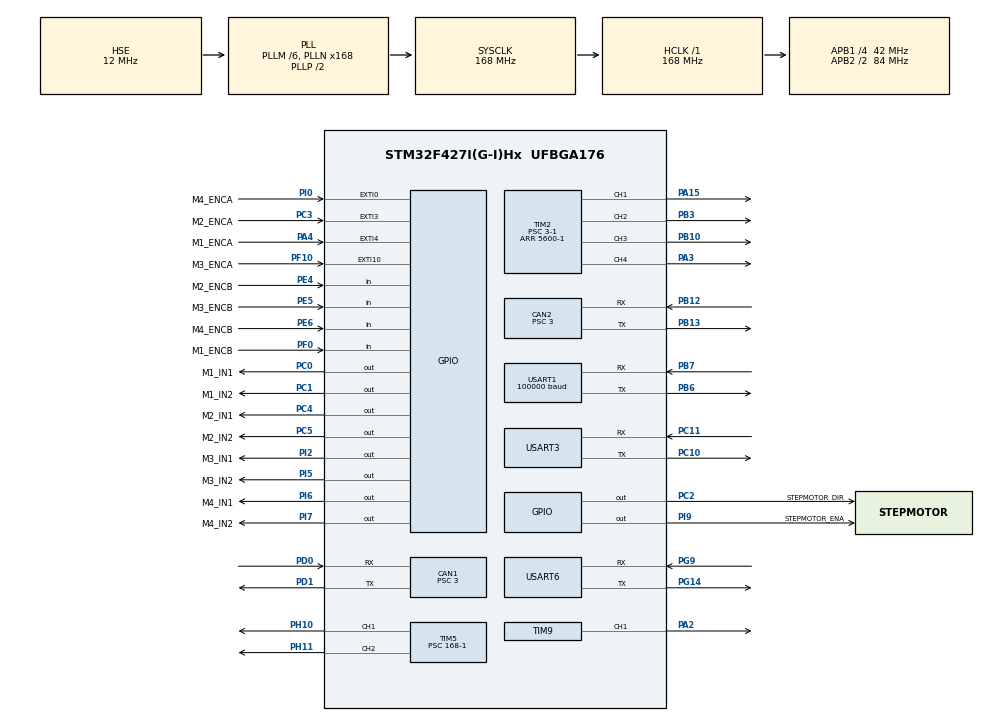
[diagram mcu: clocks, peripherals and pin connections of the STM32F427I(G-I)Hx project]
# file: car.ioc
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CAN1.BS1=CAN_BS1_10TQ
CAN1.BS2=CAN_BS2_3TQ
CAN1.CalculateBaudRate=1000000
CAN1.CalculateTimeBit=1000
CAN1.CalculateTimeQuantum=71.42857142857143
CAN1.Prescaler=3
CAN1.TXFP=ENABLE
CAN2.BS1=CAN_BS1_10TQ
CAN2.BS2=CAN_BS2_3TQ
CAN2.CalculateBaudRate=1000000
CAN2.CalculateTimeBit=1000
CAN2.CalculateTimeQuantum=71.42857142857143
CAN2.Prescaler=3
CAN2.TXFP=ENABLE
Dma.Request0=USART1_RX
Dma.Request1=USART6_RX
Dma.Request2=USART6_TX
Dma.Request3=USART3_RX
Dma.Request4=USART3_TX
Dma.USART1_RX.0.Direction=DMA_PERIPH_TO_MEMORY
Dma.USART1_RX.0.FIFOMode=DMA_FIFOMODE_DISABLE
Dma.USART1_RX.0.Instance=DMA2_Stream2
Dma.USART1_RX.0.MemDataAlignment=DMA_MDATAALIGN_BYTE
Dma.USART1_RX.0.MemInc=DMA_MINC_ENABLE
Dma.USART1_RX.0.Mode=DMA_NORMAL
Dma.USART1_RX.0.PeriphDataAlignment=DMA_PDATAALIGN_BYTE
Dma.USART1_RX.0.PeriphInc=DMA_PINC_DISABLE
Dma.USART1_RX.0.Priority=DMA_PRIORITY_VERY_HIGH
Dma.USART3_RX.3.Direction=DMA_PERIPH_TO_MEMORY
Dma.USART3_RX.3.FIFOMode=DMA_FIFOMODE_DISABLE
Dma.USART3_RX.3.Instance=DMA1_Stream1
Dma.USART3_RX.3.MemDataAlignment=DMA_MDATAALIGN_BYTE
Dma.USART3_RX.3.MemInc=DMA_MINC_ENABLE
Dma.USART3_RX.3.Mode=DMA_NORMAL
Dma.USART3_RX.3.PeriphDataAlignment=DMA_PDATAALIGN_BYTE
Dma.USART3_RX.3.PeriphInc=DMA_PINC_DISABLE
Dma.USART3_RX.3.Priority=DMA_PRIORITY_LOW
Dma.USART3_TX.4.Direction=DMA_MEMORY_TO_PERIPH
Dma.USART3_TX.4.FIFOMode=DMA_FIFOMODE_DISABLE
Dma.USART3_TX.4.Instance=DMA1_Stream3
Dma.USART3_TX.4.MemDataAlignment=DMA_MDATAALIGN_BYTE
Dma.USART3_TX.4.MemInc=DMA_MINC_ENABLE
Dma.USART3_TX.4.Mode=DMA_NORMAL
Dma.USART3_TX.4.PeriphDataAlignment=DMA_PDATAALIGN_BYTE
Dma.USART3_TX.4.PeriphInc=DMA_PINC_DISABLE
Dma.USART3_TX.4.Priority=DMA_PRIORITY_LOW
Dma.USART6_RX.1.Direction=DMA_PERIPH_TO_MEMORY
Dma.USART6_RX.1.FIFOMode=DMA_FIFOMODE_DISABLE
Dma.USART6_RX.1.Instance=DMA2_Stream1
Dma.USART6_RX.1.MemDataAlignment=DMA_MDATAALIGN_BYTE
Dma.USART6_RX.1.MemInc=DMA_MINC_ENABLE
Dma.USART6_RX.1.Mode=DMA_NORMAL
Dma.USART6_RX.1.PeriphDataAlignment=DMA_PDATAALIGN_BYTE
Dma.USART6_RX.1.PeriphInc=DMA_PINC_DISABLE
Dma.USART6_RX.1.Priority=DMA_PRIORITY_LOW
Dma.USART6_TX.2.Direction=DMA_MEMORY_TO_PERIPH
Dma.USART6_TX.2.FIFOMode=DMA_FIFOMODE_DISABLE
Dma.USART6_TX.2.Instance=DMA2_Stream6
Dma.USART6_TX.2.MemDataAlignment=DMA_MDATAALIGN_BYTE
Dma.USART6_TX.2.MemInc=DMA_MINC_ENABLE
Dma.USART6_TX.2.Mode=DMA_NORMAL
Dma.USART6_TX.2.PeriphDataAlignment=DMA_PDATAALIGN_BYTE
Dma.USART6_TX.2.PeriphInc=DMA_PINC_DISABLE
Dma.USART6_TX.2.Priority=DMA_PRIORITY_LOW
FREERTOS.Tasks01=defaultTask,24,128,StartDefaultTask,Default,NULL,Dynamic,NULL,NULL;Task2,24,128,StartTask2,Default,NULL,Dynamic,NULL,NULL;Task3,24,128,StartTask3,Default,NULL,Dynamic,NULL,NULL
Mcu.Family=STM32F4
Mcu.Name=STM32F427I(G-I)Hx
Mcu.Package=UFBGA176
NVIC.CAN1_RX0_IRQn=true\:5\:0\:false\:false\:true\:true\:true\:true\:true
NVIC.CAN1_RX1_IRQn=true\:5\:0\:false\:false\:true\:true\:true\:true\:true
NVIC.CAN2_RX0_IRQn=true\:5\:0\:false\:false\:true\:true\:true\:true\:true
NVIC.CAN2_RX1_IRQn=true\:5\:0\:false\:false\:true\:true\:true\:true\:true
NVIC.DMA1_Stream1_IRQn=true\:5\:0\:false\:false\:true\:true\:false\:true\:true
NVIC.DMA1_Stream3_IRQn=true\:5\:0\:false\:false\:true\:true\:false\:true\:true
NVIC.DMA2_Stream1_IRQn=true\:5\:0\:false\:false\:true\:true\:false\:true\:true
NVIC.DMA2_Stream2_IRQn=true\:5\:0\:false\:false\:true\:true\:false\:true\:true
NVIC.DMA2_Stream6_IRQn=true\:5\:0\:false\:false\:true\:true\:false\:true\:true
NVIC.EXTI0_IRQn=true\:5\:0\:false\:false\:true\:true\:true\:true\:true
NVIC.EXTI15_10_IRQn=true\:8\:0\:true\:false\:true\:true\:true\:true\:true
NVIC.EXTI3_IRQn=true\:6\:0\:true\:false\:true\:false\:true\:true\:true
NVIC.EXTI4_IRQn=true\:7\:0\:true\:false\:true\:true\:true\:true\:true
NVIC.PriorityGroup=NVIC_PRIORITYGROUP_4
NVIC.TIM2_IRQn=true\:5\:0\:false\:false\:true\:true\:true\:true\:true
NVIC.TIM8_TRG_COM_TIM14_IRQn=true\:5\:0\:false\:false\:true\:false\:false\:true\:true
NVIC.TIM8_UP_TIM13_IRQn=true\:5\:0\:false\:false\:true\:true\:true\:true\:true
NVIC.TimeBase=TIM8_TRG_COM_TIM14_IRQn
NVIC.TimeBaseIP=TIM14
NVIC.USART1_IRQn=true\:5\:0\:true\:false\:true\:true\:true\:true\:true
NVIC.USART3_IRQn=true\:5\:0\:false\:false\:true\:false\:true\:true\:true
NVIC.USART6_IRQn=true\:5\:0\:false\:false\:true\:true\:true\:true\:true
PA13.Mode=Serial_Wire
PA13.Signal=SYS_JTMS-SWDIO
PA14.Mode=Serial_Wire
PA14.Signal=SYS_JTCK-SWCLK
PA15.Signal=S_TIM2_CH1_ETR
PA2.Signal=S_TIM9_CH1
PA3.Signal=S_TIM2_CH4
PA4.GPIO_Label=M1_ENCA
PA4.GPIO_ModeDefaultEXTI=GPIO_MODE_IT_RISING_FALLING
PA4.GPIO_PuPd=GPIO_PULLDOWN
PA4.Signal=GPXTI4
PB10.Signal=S_TIM2_CH3
PB12.Mode=CAN_Activate
PB12.Signal=CAN2_RX
PB13.Mode=CAN_Activate
PB13.Signal=CAN2_TX
PB3.Signal=S_TIM2_CH2
PB6.Mode=Asynchronous
PB6.Signal=USART1_TX
PB7.Mode=Asynchronous
PB7.Signal=USART1_RX
PC0.GPIO_Label=M1_IN1
PC0.Signal=GPIO_Output
PC1.GPIO_Label=M1_IN2
PC1.Signal=GPIO_Output
PC10.Mode=Asynchronous
PC10.Signal=USART3_TX
PC11.Mode=Asynchronous
PC11.Signal=USART3_RX
PC2.GPIO_Label=STEPMOTOR_DIR
PC2.Signal=GPIO_Output
PC3.GPIO_Label=M2_ENCA
PC3.GPIO_ModeDefaultEXTI=GPIO_MODE_IT_RISING_FALLING
PC3.GPIO_PuPd=GPIO_PULLDOWN
PC3.Signal=GPXTI3
PC4.GPIO_Label=M2_IN1
PC4.Signal=GPIO_Output
PC5.GPIO_Label=M2_IN2
PC5.Signal=GPIO_Output
PD0.Mode=CAN_Activate
PD0.Signal=CAN1_RX
PD1.Mode=CAN_Activate
PD1.Signal=CAN1_TX
PE4.GPIO_Label=M2_ENCB
PE4.Signal=GPIO_Input
PE5.GPIO_Label=M3_ENCB
PE5.Signal=GPIO_Input
PE6.GPIO_Label=M4_ENCB
PE6.Signal=GPIO_Input
PF0.GPIO_Label=M1_ENCB
PF0.Signal=GPIO_Input
PF10.GPIO_Label=M3_ENCA
PF10.GPIO_ModeDefaultEXTI=GPIO_MODE_IT_RISING_FALLING
PF10.GPIO_PuPd=GPIO_PULLDOWN
PF10.Signal=GPXTI10
PG14.Mode=Asynchronous
PG14.Signal=USART6_TX
PG9.Mode=Asynchronous
PG9.Signal=USART6_RX
PH0/OSC_IN.Mode=HSE-External-Oscillator
PH0/OSC_IN.Signal=RCC_OSC_IN
PH1/OSC_OUT.Mode=HSE-External-Oscillator
PH1/OSC_OUT.Signal=RCC_OSC_OUT
PH10.Signal=S_TIM5_CH1
PH11.Signal=S_TIM5_CH2
PI0.GPIO_Label=M4_ENCA
PI0.GPIO_ModeDefaultEXTI=GPIO_MODE_IT_RISING_FALLING
PI0.GPIO_PuPd=GPIO_PULLDOWN
PI0.Signal=GPXTI0
PI2.GPIO_Label=M3_IN1
PI2.Signal=GPIO_Output
PI5.GPIO_Label=M3_IN2
PI5.Signal=GPIO_Output
PI6.GPIO_Label=M4_IN1
PI6.Signal=GPIO_Output
PI7.GPIO_Label=M4_IN2
PI7.Signal=GPIO_Output
PI9.GPIO_Label=STEPMOTOR_ENA
PI9.Signal=GPIO_Output
ProjectManager.HeapSize=0x2000
ProjectManager.StackSize=0x4000
ProjectManager.TargetToolchain=MDK-ARM V5.32
RCC.48MHZClocksFreq_Value=48000000
RCC.AHBFreq_Value=168000000
RCC.APB1CLKDivider=RCC_HCLK_DIV4
RCC.APB1Freq_Value=42000000
RCC.APB1TimFreq_Value=84000000
RCC.APB2CLKDivider=RCC_HCLK_DIV2
RCC.APB2Freq_Value=84000000
RCC.APB2TimFreq_Value=168000000
RCC.CortexFreq_Value=168000000
RCC.HCLKFreq_Value=168000000
RCC.HSE_VALUE=12000000
RCC.HSI_VALUE=16000000
RCC.LSE_VALUE=32768
RCC.PLLM=6
RCC.PLLN=168
RCC.PLLQ=7
RCC.PLLSourceVirtual=RCC_PLLSOURCE_HSE
RCC.SYSCLKFreq_VALUE=168000000
RCC.SYSCLKSource=RCC_SYSCLKSOURCE_PLLCLK
RCC.VCOOutputFreq_Value=336000000
SH.S_TIM2_CH1_ETR.0=TIM2_CH1,PWM Generation1 CH1
SH.S_TIM2_CH2.0=TIM2_CH2,PWM Generation2 CH2
SH.S_TIM2_CH3.0=TIM2_CH3,PWM Generation3 CH3
SH.S_TIM2_CH4.0=TIM2_CH4,PWM Generation4 CH4
SH.S_TIM5_CH1.0=TIM5_CH1,PWM Generation1 CH1
SH.S_TIM5_CH2.0=TIM5_CH2,PWM Generation2 CH2
SH.S_TIM9_CH1.0=TIM9_CH1,PWM Generation1 CH1
TIM13.Prescaler=168-1
TIM2.Channel-PWM\ Generation1\ CH1=TIM_CHANNEL_1
TIM2.Channel-PWM\ Generation2\ CH2=TIM_CHANNEL_2
TIM2.Channel-PWM\ Generation3\ CH3=TIM_CHANNEL_3
TIM2.Channel-PWM\ Generation4\ CH4=TIM_CHANNEL_4
TIM2.Period=5600-1
TIM2.Prescaler=3-1
TIM5.Channel-PWM\ Generation1\ CH1=TIM_CHANNEL_1
TIM5.Channel-PWM\ Generation2\ CH2=TIM_CHANNEL_2
TIM5.Period=20000-1
TIM5.Prescaler=168-1
TIM9.Channel-PWM\ Generation1\ CH1=TIM_CHANNEL_1
TIM9.Prescaler=168-1
USART1.BaudRate=100000
USART1.Parity=PARITY_EVEN
USART1.StopBits=STOPBITS_2
USART1.VirtualMode=VM_ASYNC
USART1.WordLength=WORDLENGTH_9B
USART3.VirtualMode=VM_ASYNC
USART6.VirtualMode=VM_ASYNC
VP_CRC_VS_CRC.Mode=CRC_Activate
VP_FREERTOS_VS_CMSIS_V2.Mode=CMSIS_V2
VP_RNG_VS_RNG.Mode=RNG_Activate
VP_SYS_VS_tim14.Mode=TIM14
VP_TIM13_VS_ClockSourceINT.Mode=Enable_Timer
VP_TIM2_VS_ClockSourceINT.Mode=Internal
board=custom

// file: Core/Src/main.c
/* USER CODE BEGIN Header */
/**
 ******************************************************************************
 * @file           : main.c
 * @brief          : Main program body
 ******************************************************************************
 * @attention
 *
 * Copyright (c) 2022 STMicroelectronics.
 * All rights reserved.
 *
 * This software is licensed under terms that can be found in the LICENSE file
 * in the root directory of this software component.
 * If no LICENSE file comes with this software, it is provided AS-IS.
 *
 ******************************************************************************
 */
/* USER CODE END Header */
#include "main.h"
#include "cmsis_os.h"
#include "can.h"
#include "crc.h"
#include "dma.h"
#include "rng.h"
#include "tim.h"
#include "usart.h"
#include "gpio.h"

/* USER CODE BEGIN Includes */
#include <stdio.h>

#include "bsp.h"
/* USER CODE END Includes */

void SystemClock_Config(void);
void MX_FREERTOS_Init(void);

int main(void)
{

  /* MCU Configuration--------------------------------------------------------*/

  /* Reset of all peripherals, Initializes the Flash interface and the Systick. */
  HAL_Init();

  /* Configure the system clock */
  SystemClock_Config();

  /* Initialize all configured peripherals */
  MX_GPIO_Init();
  MX_DMA_Init();
  MX_USART1_UART_Init();
  MX_TIM13_Init();
  MX_CRC_Init();
  MX_RNG_Init();
  MX_TIM2_Init();
  MX_USART6_UART_Init();
  MX_USART3_UART_Init();
  MX_TIM5_Init();
  MX_TIM9_Init();
  MX_CAN1_Init();
  MX_CAN2_Init();

  /* Init scheduler */
  osKernelInitialize();  /* Call init function for freertos objects (in freertos.c) */
  MX_FREERTOS_Init();

  /* Start scheduler */
  osKernelStart();

  /* We should never get here as control is now taken by the scheduler */
  /* Infinite loop */
  while (1) {

  }
}

void SystemClock_Config(void)
{
  RCC_OscInitTypeDef RCC_OscInitStruct = {0};
  RCC_ClkInitTypeDef RCC_ClkInitStruct = {0};

  /** Configure the main internal regulator output voltage
  */
  __HAL_RCC_PWR_CLK_ENABLE();
  __HAL_PWR_VOLTAGESCALING_CONFIG(PWR_REGULATOR_VOLTAGE_SCALE1);

  /** Initializes the RCC Oscillators according to the specified parameters
  * in the RCC_OscInitTypeDef structure.
  */
  RCC_OscInitStruct.OscillatorType = RCC_OSCILLATORTYPE_HSE;
  RCC_OscInitStruct.HSEState = RCC_HSE_ON;
  RCC_OscInitStruct.PLL.PLLState = RCC_PLL_ON;
  RCC_OscInitStruct.PLL.PLLSource = RCC_PLLSOURCE_HSE;
  RCC_OscInitStruct.PLL.PLLM = 6;
  RCC_OscInitStruct.PLL.PLLN = 168;
  RCC_OscInitStruct.PLL.PLLP = RCC_PLLP_DIV2;
  RCC_OscInitStruct.PLL.PLLQ = 7;
  if (HAL_RCC_OscConfig(&RCC_OscInitStruct) != HAL_OK)
  {
    Error_Handler();
  }

  /** Initializes the CPU, AHB and APB buses clocks
  */
  RCC_ClkInitStruct.ClockType = RCC_CLOCKTYPE_HCLK|RCC_CLOCKTYPE_SYSCLK
                              |RCC_CLOCKTYPE_PCLK1|RCC_CLOCKTYPE_PCLK2;
  RCC_ClkInitStruct.SYSCLKSource = RCC_SYSCLKSOURCE_PLLCLK;
  RCC_ClkInitStruct.AHBCLKDivider = RCC_SYSCLK_DIV1;
  RCC_ClkInitStruct.APB1CLKDivider = RCC_HCLK_DIV4;
  RCC_ClkInitStruct.APB2CLKDivider = RCC_HCLK_DIV2;

  if (HAL_RCC_ClockConfig(&RCC_ClkInitStruct, FLASH_LATENCY_5) != HAL_OK)
  {
    Error_Handler();
  }
}

void HAL_TIM_PeriodElapsedCallback(TIM_HandleTypeDef *htim)
{
  /* USER CODE BEGIN Callback 0 */

  timCallback(htim);
  /* USER CODE END Callback 0 */
  if (htim->Instance == TIM14) {
    HAL_IncTick();
  }
}

void Error_Handler(void)
{
  __disable_irq();
  while (1) {
  }
}

#ifdef  USE_FULL_ASSERT
/**
  * @brief  Reports the name of the source file and the source line number
  *         where the assert_param error has occurred.
  * @param  file: pointer to the source file name
  * @param  line: assert_param error line source number
  * @retval None
  */
void assert_failed(uint8_t *file, uint32_t line)
{
  /* USER CODE BEGIN 6 */
  /* User can add his own implementation to report the file name and line
     number, ex: printf("Wrong parameters value: file %s on line %d\r\n", file,
     line) */
  /* USER CODE END 6 */
}
#endif /* USE_FULL_ASSERT */

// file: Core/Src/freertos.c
/* USER CODE BEGIN Header */
/**
  ******************************************************************************
  * File Name          : freertos.c
  * Description        : Code for freertos applications
  ******************************************************************************
  * @attention
  *
  * Copyright (c) 2022 STMicroelectronics.
  * All rights reserved.
  *
  * This software is licensed under terms that can be found in the LICENSE file
  * in the root directory of this software component.
  * If no LICENSE file comes with this software, it is provided AS-IS.
  *
  ******************************************************************************
  */
/* USER CODE END Header */

#include "FreeRTOS.h"
#include "task.h"
#include "main.h"
#include "cmsis_os.h"

/* USER CODE BEGIN Includes */
#include "app.h"
#include "bsp.h"
#include "hal.h"
/* USER CODE END Includes */

/* Definitions for defaultTask */
osThreadId_t defaultTaskHandle;
const osThreadAttr_t defaultTask_attributes = {
  .name = "defaultTask",
  .stack_size = 128 * 4,
  .priority = (osPriority_t) osPriorityNormal,
};
/* Definitions for Task2 */
osThreadId_t Task2Handle;
const osThreadAttr_t Task2_attributes = {
  .name = "Task2",
  .stack_size = 128 * 4,
  .priority = (osPriority_t) osPriorityNormal,
};
/* Definitions for Task3 */
osThreadId_t Task3Handle;
const osThreadAttr_t Task3_attributes = {
  .name = "Task3",
  .stack_size = 128 * 4,
  .priority = (osPriority_t) osPriorityNormal,
};

void StartDefaultTask(void *argument);
void StartTask2(void *argument);
void StartTask3(void *argument);

void MX_FREERTOS_Init(void); /* (MISRA C 2004 rule 8.1) */

void MX_FREERTOS_Init(void) {

  /* Create the thread(s) */
  /* creation of defaultTask */
  defaultTaskHandle = osThreadNew(StartDefaultTask, NULL, &defaultTask_attributes);

  /* creation of Task2 */
  Task2Handle = osThreadNew(StartTask2, NULL, &Task2_attributes);

  /* creation of Task3 */
  Task3Handle = osThreadNew(StartTask3, NULL, &Task3_attributes);

}

void StartDefaultTask(void *argument)
{
  /* USER CODE BEGIN StartDefaultTask */
  portTickType currentTimeDefault;
  currentTimeDefault = xTaskGetTickCount();
  APP_init();
  /* Infinite loop */
  for(;;)
  {
		APP_defaultTask();
    vTaskDelayUntil(&currentTimeDefault,100);
  }
  /* USER CODE END StartDefaultTask */
}

void StartTask2(void *argument)
{
  /* USER CODE BEGIN StartTask2 */
  portTickType currentTimeDefault;
  currentTimeDefault = xTaskGetTickCount();
  BSP_init();
  /* Infinite loop */
  for(;;)
  {
    BSP_defaultTask();
    vTaskDelayUntil(&currentTimeDefault, 20);
  }
  /* USER CODE END StartTask2 */
}

void StartTask3(void *argument)
{
  /* USER CODE BEGIN StartTask3 */
  portTickType currentTimeDefault;
  currentTimeDefault = xTaskGetTickCount();
  HAL_init();
  /* Infinite loop */
  for(;;)
  {
    HAL_defaultTask();
    vTaskDelayUntil(&currentTimeDefault, 20);
  }
  /* USER CODE END StartTask3 */
}
